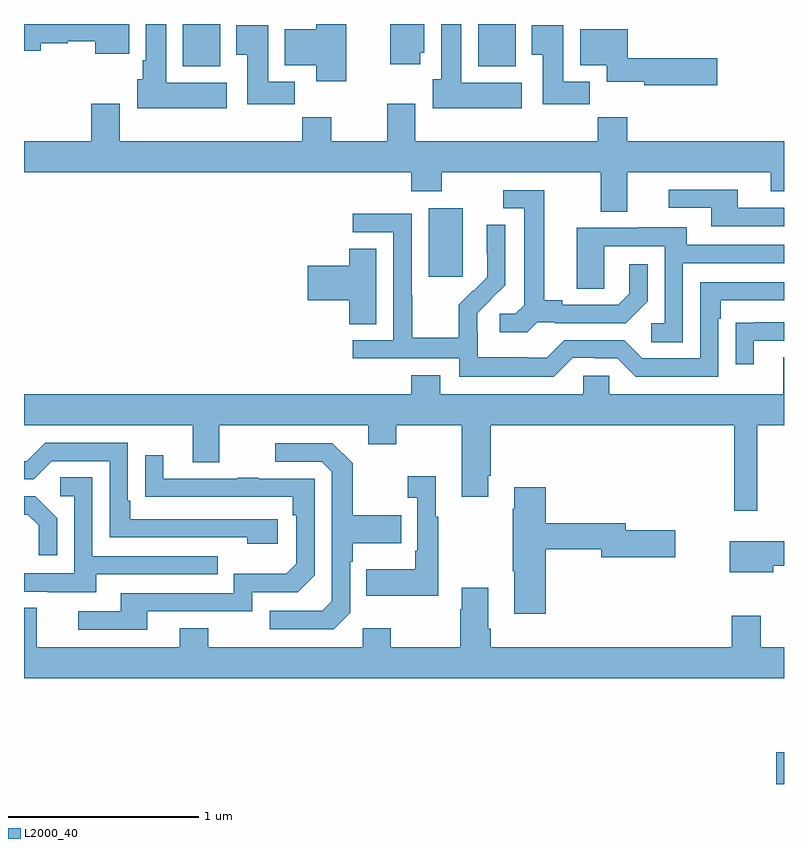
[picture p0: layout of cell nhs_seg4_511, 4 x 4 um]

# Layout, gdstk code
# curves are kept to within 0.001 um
import gdstk
lib = gdstk.Library(unit=1e-6, precision=1e-09)
def R(c, l, rs):  # rectangles x0, y0, x1, y1
    for r in rs: c.add(gdstk.rectangle(r[:2], r[2:], *l))
def P(c, l, *ps):  # polygons
    for p in ps: c.add(gdstk.Polygon(p, *l))
L2000_40 = (2000, 40)

nhs_seg4_511 = lib.new_cell('nhs_seg4_511')
R(nhs_seg4_511, L2000_40, [(138.959,826.9,139,827.068), (137.129,829.569,137.308,829.93), (135.836,830.678,136.033,830.9), (137.39,830.678,137.587,830.9)])
P(nhs_seg4_511, L2000_40, [(137.62,830.59),(137.302,830.59),(137.302,830.9),(137.195,830.9),(137.195,830.61),(137.15,830.61),(137.15,830.456),(137.62,830.456)],
  [(137.086,830.748),(137.107,830.748),(137.107,830.9),(136.928,830.9),(136.928,830.688),(137.086,830.688)],
  [(135.553,830.9),(135,830.9),(135,830.758),(135.088,830.758),(135.088,830.8),(135.231,830.8),(135.231,830.808),(135.374,830.808),(135.374,830.744),(135.553,830.744)],
  [(136.696,830.9),(136.538,830.9),(136.538,830.872),(136.373,830.872),(136.373,830.684),(136.538,830.684),(136.538,830.598),(136.696,830.598)],
  [(136.066,830.59),(135.748,830.59),(135.748,830.9),(135.641,830.9),(135.641,830.71),(135.626,830.71),(135.626,830.61),(135.596,830.61),(135.596,830.456),(136.066,830.456)],
  [(137.978,830.596),(137.839,830.596),(137.839,830.893),(137.672,830.893),(137.672,830.737),(137.729,830.737),(137.729,830.478),(137.978,830.478)],
  [(136.424,830.596),(136.285,830.596),(136.285,830.893),(136.118,830.893),(136.118,830.737),(136.175,830.737),(136.175,830.478),(136.424,830.478)],
  [(138.649,830.72),(138.178,830.72),(138.178,830.872),(137.927,830.872),(137.927,830.684),(138.068,830.684),(138.068,830.597),(138.264,830.597),(138.264,830.578),(138.649,830.578)],
  [(138.175,830.12),(138.929,830.12),(138.929,830.021),(139,830.021),(139,830.284),(138.176,830.284),(138.176,830.408),(138.019,830.408),(138.019,830.284),(137.059,830.284),(137.059,830.479),(136.912,830.479),(136.912,830.284),(136.617,830.284),(136.617,830.408),(136.465,830.408),(136.465,830.284),(135.505,830.284),(135.505,830.479),(135.353,830.479),(135.353,830.284),(135,830.284),(135,830.12),(137.039,830.12),(137.039,830.021),(137.199,830.021),(137.199,830.12),(138.035,830.12),(138.035,829.912),(138.175,829.912)],
  [(139,829.932),(138.757,829.932),(138.757,830.028),(138.393,830.028),(138.393,829.932),(138.617,829.932),(138.617,829.836),(139,829.836)],
  [(137.7,829.329),(137.794,829.329),(137.794,829.326),(138.166,829.326),(138.282,829.442),(138.282,829.636),(138.185,829.636),(138.185,829.479),(138.128,829.422),(137.833,829.422),(137.833,829.445),(137.737,829.445),(137.737,830.025),(137.523,830.025),(137.523,829.929),(137.633,829.929),(137.633,829.421),(137.586,829.374),(137.505,829.374),(137.505,829.277),(137.648,829.277)],
  [(137.889,829.143),(138.005,829.143),(138.005,829.14),(138.123,829.14),(138.219,829.044),(138.654,829.044),(138.654,829.349),(138.667,829.349),(138.667,829.446),(139,829.446),(139,829.542),(138.558,829.542),(138.558,829.14),(138.255,829.14),(138.159,829.236),(137.844,829.236),(137.751,829.143),(137.651,829.143),(137.651,829.147),(137.388,829.147),(137.388,829.281),(137.386,829.281),(137.386,829.378),(137.532,829.526),(137.532,829.844),(137.436,829.844),(137.436,829.69),(137.438,829.69),(137.438,829.568),(137.367,829.497),(137.364,829.5),(137.287,829.423),(137.287,829.249),(137.043,829.249),(137.043,829.472),(137.04,829.472),(137.04,829.902),(136.731,829.902),(136.731,829.803),(136.944,829.803),(136.944,829.236),(136.731,829.236),(136.731,829.14),(137.292,829.14),(137.292,829.043),(137.789,829.043)],
  [(138.468,829.641),(139,829.641),(139,829.737),(138.487,829.737),(138.487,829.831),(138.233,829.831),(138.233,829.827),(137.909,829.827),(137.909,829.507),(138.054,829.507),(138.054,829.731),(138.372,829.731),(138.372,829.326),(138.3,829.326),(138.3,829.225),(138.468,829.225)],
  [(136.855,829.718),(136.712,829.718),(136.712,829.628),(136.494,829.628),(136.494,829.445),(136.712,829.445),(136.712,829.321),(136.855,829.321)],
  [(138.841,829.233),(139,829.233),(139,829.329),(138.847,829.329),(138.847,829.328),(138.745,829.328),(138.745,829.11),(138.841,829.11)],
  [(138.859,828.788),(139,828.788),(139,829.147),(138.995,829.147),(138.995,828.952),(138.081,828.952),(138.081,829.05),(137.943,829.05),(137.943,828.952),(137.191,828.952),(137.191,829.051),(137.039,829.051),(137.039,828.952),(135,828.952),(135,828.788),(135.887,828.788),(135.887,828.594),(136.027,828.594),(136.027,828.788),(136.811,828.788),(136.811,828.689),(136.959,828.689),(136.959,828.788),(137.303,828.788),(137.303,828.411),(137.443,828.411),(137.443,828.523),(137.456,828.523),(137.456,828.788),(138.738,828.788),(138.738,828.339),(138.859,828.339)],
  [(136.336,828.294),(135.559,828.294),(135.559,828.391),(135.546,828.391),(135.546,828.696),(135.111,828.696),(135.015,828.6),(135,828.6),(135,828.504),(135.051,828.504),(135.147,828.6),(135.45,828.6),(135.45,828.198),(136.175,828.198),(136.175,828.164),(136.336,828.164)],
  [(136.716,827.802),(136.716,828.071),(136.729,828.071),(136.729,828.167),(136.985,828.167),(136.985,828.315),(136.729,828.315),(136.729,828.587),(136.623,828.693),(136.323,828.693),(136.323,828.597),(136.566,828.597),(136.62,828.543),(136.62,827.862),(136.569,827.811),(136.293,827.811),(136.293,827.715),(136.629,827.715)],
  [(135.649,827.808),(136.2,827.808),(136.2,827.91),(136.44,827.91),(136.53,828),(136.53,828.507),(136.235,828.507),(136.235,828.512),(136.123,828.512),(136.123,828.507),(135.733,828.507),(135.733,828.631),(135.637,828.631),(135.637,828.412),(136.414,828.411),(136.414,828.314),(136.434,828.314),(136.434,828.06),(136.381,828.007),(136.104,828.007),(136.104,827.904),(135.509,827.904),(135.509,827.808),(135.285,827.808),(135.285,827.712),(135.649,827.712)],
  [(137.179,828.307),(137.167,828.307),(137.167,828.52),(137.019,828.52),(137.019,828.407),(137.07,828.407),(137.07,828.127),(137.058,828.127),(137.058,828.031),(136.801,828.031),(136.801,827.891),(137.179,827.891)],
  [(135.379,828.003),(136.019,828.003),(136.019,828.099),(135.36,828.099),(135.36,828.515),(135.192,828.515),(135.192,828.414),(135.264,828.414),(135.264,828.009),(135,828.009),(135,827.913),(135.125,827.913),(135.125,827.909),(135.379,827.909)],
  [(137.747,828.136),(138.038,828.136),(138.038,828.094),(138.427,828.094),(138.427,828.236),(138.166,828.236),(138.166,828.272),(137.747,828.272),(137.747,828.463),(137.579,828.463),(137.579,828.35),(137.572,828.35),(137.572,828.019),(137.579,828.019),(137.579,827.796),(137.747,827.796)],
  [(135.174,828.298),(135.058,828.414),(135,828.414),(135,828.318),(135.02,828.318),(135.077,828.261),(135.077,828.105),(135.174,828.105)],
  [(138.943,828.05),(139,828.05),(139,828.178),(138.714,828.178),(138.714,828.014),(138.943,828.014)],
  [(139,827.62),(138.877,827.62),(138.877,827.785),(138.725,827.785),(138.725,827.62),(137.456,827.62),(137.456,827.716),(137.443,827.716),(137.443,827.932),(137.303,827.932),(137.303,827.819),(137.296,827.819),(137.296,827.62),(136.929,827.62),(136.929,827.719),(136.782,827.719),(136.782,827.62),(135.969,827.62),(135.969,827.719),(135.821,827.719),(135.821,827.62),(135.067,827.62),(135.067,827.828),(135,827.828),(135,827.456),(139,827.456)])

lib.write_gds('nhs_seg4_511.gds')
